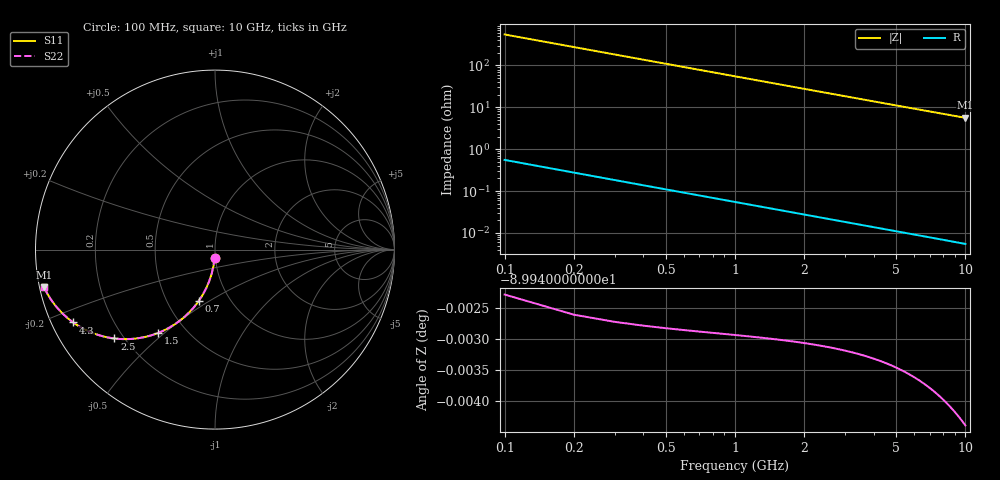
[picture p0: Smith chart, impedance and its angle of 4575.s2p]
# Hz S RI R 50.00
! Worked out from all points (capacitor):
!   100 points, 100 MHz to 10 GHz, reference 50 ohm
!   read as one part in shunt: C = 2.89 pF near 100 MHz
!   lowest |Z| = 5.63 ohm at 10 GHz (marker M1)
!   S11 on the Smith chart (normalised r, x): 100 MHz: 0.99, -0.09; 700 MHz: 0.71, -0.45; 1.5 GHz: 0.35, -0.48; 2.5 GHz: 0.16, -0.37; 4.3 GHz: 0.06, -0.24; 10 GHz: 0.01, -0.11
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1e8  -0.00209 -0.0452  0.9979 -0.0453  0.9979 -0.0453  -0.00209 -0.0452
2e8  -0.00825 -0.0899  0.9917 -0.09  0.9917 -0.09  -0.00825 -0.0899
3e8  -0.0183 -0.1335  0.9817 -0.1337  0.9817 -0.1337  -0.0183 -0.1335
4e8  -0.032 -0.1755  0.968 -0.1757  0.968 -0.1757  -0.032 -0.1755
5e8  -0.0491 -0.2155  0.9509 -0.2157  0.9509 -0.2157  -0.0491 -0.2155
6e8  -0.0691 -0.253  0.9308 -0.2534  0.9308 -0.2534  -0.0691 -0.253
7e8  -0.0917 -0.288  0.9082 -0.2884  0.9082 -0.2884  -0.0917 -0.288
9e8  -0.1429 -0.3493  0.8571 -0.3497  0.8571 -0.3497  -0.1429 -0.3493
1.1e9  -0.1992 -0.3987  0.8007 -0.3992  0.8007 -0.3992  -0.1992 -0.3987
1.3e9  -0.2577 -0.4365  0.7423 -0.4372  0.7423 -0.4372  -0.2577 -0.4365
1.5e9  -0.3159 -0.464  0.6841 -0.4648  0.6841 -0.4648  -0.3159 -0.464
1.8e9  -0.399 -0.4887  0.601 -0.4897  0.601 -0.4897  -0.399 -0.4887
2.1e9  -0.4744 -0.4983  0.5256 -0.4994  0.5256 -0.4994  -0.4744 -0.4983
2.5e9  -0.5608 -0.4951  0.4392 -0.4964  0.4392 -0.4964  -0.5608 -0.4951
2.9e9  -0.6317 -0.4811  0.3683 -0.4826  0.3683 -0.4826  -0.6317 -0.4811
3.4e9  -0.7018 -0.4561  0.2982 -0.4579  0.2982 -0.4579  -0.7018 -0.4561
3.8e9  -0.7459 -0.4339  0.2541 -0.4358  0.2541 -0.4358  -0.7459 -0.4339
4.3e9  -0.7896 -0.406  0.2104 -0.4082  0.2104 -0.4082  -0.7896 -0.406
5.1e9  -0.8405 -0.3643  0.1595 -0.367  0.1595 -0.367  -0.8405 -0.3643
6.7e9  -0.9006 -0.2969  0.0994 -0.3004  0.0994 -0.3004  -0.9006 -0.2969
8.4e9  -0.9343 -0.245  0.0657 -0.2495  0.0657 -0.2495  -0.9343 -0.245
1e10  -0.9527 -0.2091  0.0473 -0.2144  0.0473 -0.2144  -0.9527 -0.2091
